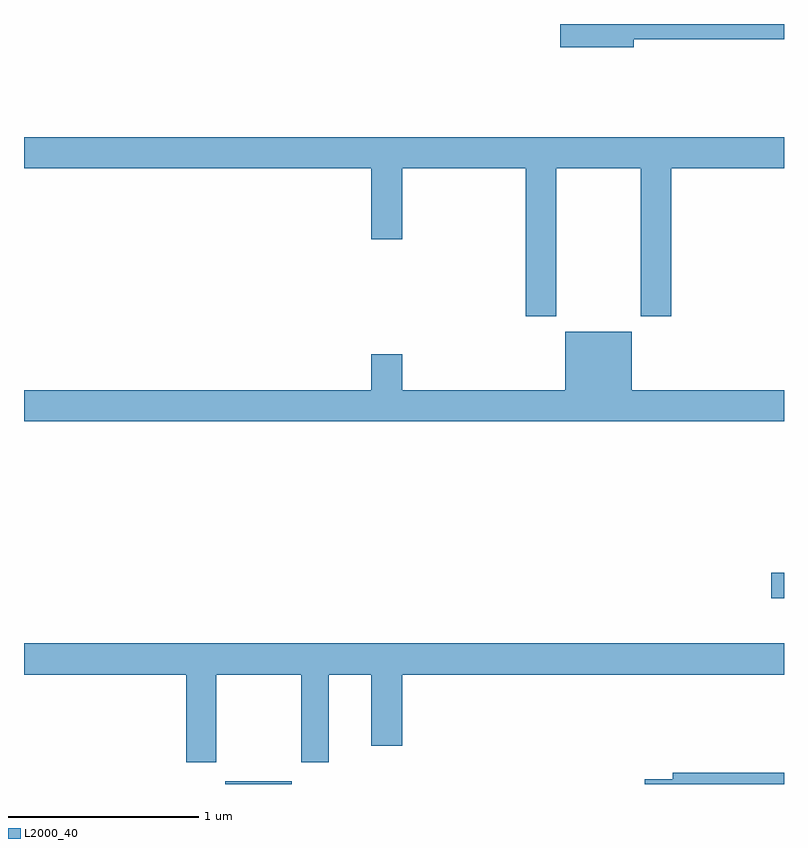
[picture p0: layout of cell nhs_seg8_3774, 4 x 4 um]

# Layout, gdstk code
import gdstk
lib = gdstk.Library(unit=1e-6, precision=1e-09)
def R(c, l, rs):  # rectangles x0, y0, x1, y1
    for r in rs: c.add(gdstk.rectangle(r[:2], r[2:], *l))
def P(c, l, *ps):  # polygons
    for p in ps: c.add(gdstk.Polygon(p, *l))
L2000_40 = (2000, 40)

nhs_seg8_3774 = lib.new_cell('nhs_seg8_3774')
R(nhs_seg8_3774, L2000_40, [(344.06,1139.9,344.41,1139.914), (346.932,1140.878,347,1141.013)])
P(nhs_seg8_3774, L2000_40, [(346.21,1143.82),(347,1143.82),(347,1143.9),(345.822,1143.9),(345.822,1143.778),(346.21,1143.778)],
  [(345.801,1143.14),(346.246,1143.14),(346.246,1142.361),(346.406,1142.361),(346.406,1143.14),(347,1143.14),(347,1143.304),(343,1143.304),(343,1143.14),(344.828,1143.14),(344.828,1142.766),(344.992,1142.766),(344.992,1143.14),(345.641,1143.14),(345.641,1142.361),(345.801,1142.361)],
  [(347,1141.972),(346.198,1141.972),(346.198,1142.281),(345.848,1142.281),(345.848,1141.972),(344.992,1141.972),(344.992,1142.161),(344.828,1142.161),(344.828,1141.972),(343,1141.972),(343,1141.808),(347,1141.808)],
  [(344.013,1140.476),(344.458,1140.476),(344.458,1140.015),(344.605,1140.015),(344.605,1140.476),(344.828,1140.476),(344.828,1140.102),(344.992,1140.102),(344.992,1140.476),(347,1140.476),(347,1140.64),(343,1140.64),(343,1140.476),(343.853,1140.476),(343.853,1140.015),(344.013,1140.015)],
  [(347,1139.96),(346.415,1139.96),(346.415,1139.924),(346.266,1139.924),(346.266,1139.9),(347,1139.9)])

lib.write_gds('nhs_seg8_3774.gds')
